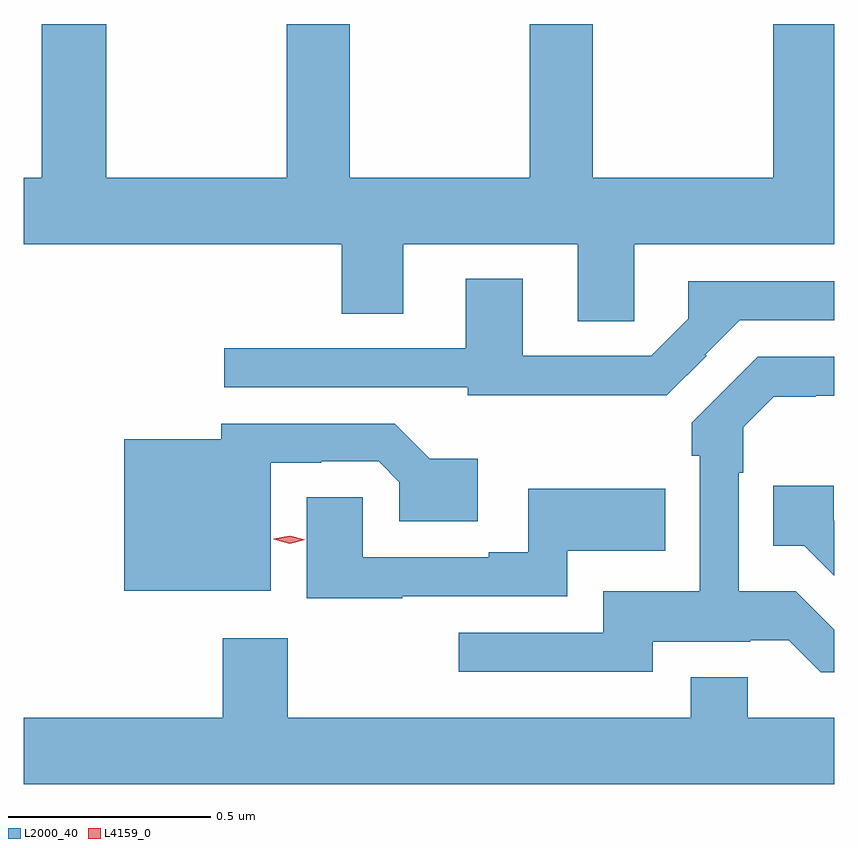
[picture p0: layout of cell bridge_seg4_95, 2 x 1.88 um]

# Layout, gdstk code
import gdstk
lib = gdstk.Library(unit=1e-6, precision=1e-09)
def P(c, l, *ps):  # polygons
    for p in ps: c.add(gdstk.Polygon(p, *l))
L2000_40 = (2000, 40)
L4159_0 = (4159, 0)

bridge_seg4_95 = lib.new_cell('bridge_seg4_95')
P(bridge_seg4_95, L2000_40, [(459.864,764.852),(460.358,764.852),(460.358,765.395),(460.207,765.395),(460.207,765.016),(459.762,765.016),(459.762,765.395),(459.607,765.395),(459.607,765.016),(459.162,765.016),(459.162,765.395),(459.007,765.395),(459.007,765.016),(458.562,765.016),(458.562,765.395),(458.402,765.395),(458.402,765.016),(458.358,765.016),(458.358,764.852),(459.143,764.852),(459.143,764.68),(459.295,764.68),(459.295,764.852),(459.725,764.852),(459.725,764.662),(459.864,764.662)],
  [(460.043,764.576),(460.04,764.579),(460.125,764.664),(460.358,764.664),(460.358,764.76),(459.997,764.76),(459.997,764.668),(459.906,764.577),(459.589,764.577),(459.589,764.767),(459.449,764.767),(459.449,764.595),(458.853,764.595),(458.853,764.499),(459.453,764.499),(459.453,764.479),(459.945,764.479)],
  [(460.358,763.9),(460.263,763.995),(460.122,763.995),(460.122,764.288),(460.133,764.288),(460.133,764.4),(460.208,764.476),(460.312,764.476),(460.312,764.478),(460.358,764.478),(460.358,764.574),(460.169,764.574),(460.006,764.411),(460.006,764.33),(460.026,764.33),(460.026,763.996),(459.788,763.996),(459.788,763.893),(459.432,763.893),(459.432,763.797),(459.91,763.797),(459.91,763.871),(460.151,763.871),(460.151,763.875),(460.245,763.875),(460.324,763.796),(460.358,763.796)],
  [(458.968,764.313),(459.092,764.313),(459.092,764.316),(459.234,764.316),(459.285,764.265),(459.285,764.168),(459.478,764.168),(459.478,764.323),(459.36,764.323),(459.274,764.409),(458.846,764.409),(458.846,764.371),(458.606,764.371),(458.606,763.997),(458.968,763.997)],
  [(460.358,764.17),(460.357,764.171),(460.357,764.256),(460.207,764.256),(460.207,764.108),(460.284,764.108),(460.358,764.034)],
  [(459.292,763.983),(459.699,763.983),(459.699,764.096),(459.941,764.096),(459.941,764.248),(459.603,764.248),(459.603,764.092),(459.506,764.092),(459.506,764.079),(459.195,764.079),(459.195,764.228),(459.056,764.228),(459.056,763.978),(459.292,763.978)],
  [(460.358,763.684),(460.144,763.684),(460.144,763.783),(460.004,763.783),(460.004,763.684),(459.009,763.684),(459.009,763.879),(458.849,763.879),(458.849,763.684),(458.358,763.684),(458.358,763.52),(460.358,763.52)])
P(bridge_seg4_95, L4159_0, [(459.014,764.113),(458.975,764.124),(458.975,764.124),(458.975,764.125),(459.014,764.133),(459.053,764.122),(459.053,764.122),(459.053,764.122)])

lib.write_gds('bridge_seg4_95.gds')
